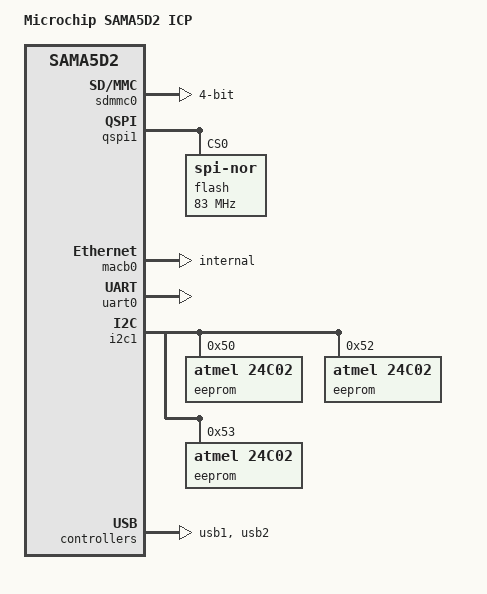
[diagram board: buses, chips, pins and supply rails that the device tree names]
// SPDX-License-Identifier: GPL-2.0+ OR MIT
/*
 * at91-sama5d2_icp.dts - Device Tree file for SAMA5D2 ICP board
 *			SAMA5D2 Industrial Connectivity Platform
 *
 *  Copyright (c) 2018, Microchip Technology Inc.
 *                2018, Eugen Hristev <eugen.hristev@microchip.com>
 */
/dts-v1/;
#include "sama5d2.dtsi"
#include "sama5d2-pinfunc.h"

/ {
	model = "Microchip SAMA5D2 ICP";
	compatible = "atmel,sama5d2-icp", "atmel,sama5d27", "atmel,sama5d2", "atmel,sama5";

	aliases {
		serial0 = &uart0;
		i2c1	= &i2c1;
	};

	chosen {
		stdout-path = "serial0:115200n8";
	};

	ahb {

		sdmmc0: sdio-host@a0000000 {
			bus-width = <4>;
			pinctrl-names = "default";
			pinctrl-0 = <&pinctrl_sdmmc0_default>;
			status = "okay";
		};

		apb {

			qspi1: spi@f0024000 {
				pinctrl-names = "default";
				pinctrl-0 = <&pinctrl_qspi1_sck_cs_default &pinctrl_qspi1_dat_default>;
				status = "okay";

				flash@0 {
					compatible = "jedec,spi-nor";
					reg = <0>;
					spi-max-frequency = <83000000>;
					spi-rx-bus-width = <4>;
					spi-tx-bus-width = <4>;
				};
			};

			macb0: ethernet@f8008000 {
				pinctrl-names = "default";
				pinctrl-0 = <&pinctrl_macb0_rmii &pinctrl_macb0_phy_irq &pinctrl_macb0_rst>;
				phy-mode = "internal";
				status = "okay";
			};

			uart0: serial@f801c000 { /* mikrobus1 uart */
				pinctrl-names = "default";
				pinctrl-0 = <&pinctrl_mikrobus1_uart>;
				status = "okay";
			};

			i2c1: i2c@fc028000 {
				dmas = <0>, <0>;
				pinctrl-names = "default";
				pinctrl-0 = <&pinctrl_i2c1_default>;
				status = "okay";

				eeprom@50 {
					compatible = "atmel,24c02"; /* EEPROM is 2Kbits microchip 24aa025e48, an at24c02 with page size of 16 */
					reg = <0x50>;
					pagesize = <16>;
				};

				eeprom@52 {
					compatible = "atmel,24c02"; /* EEPROM is 2Kbits microchip 24aa025e48, an at24c02 with page size of 16 */
					reg = <0x52>;
					pagesize = <16>;
				};

				eeprom@53 {
					compatible = "atmel,24c02"; /* EEPROM is 2Kbits microchip 24aa025e48, an at24c02 with page size of 16 */
					reg = <0x53>;
					pagesize = <16>;
				};
			};

			pioA: pinctrl@fc038000 {
				status = "okay";
				pinctrl_i2c1_default: i2c1_default {
					pinmux = <PIN_PD19__TWD1>,
						 <PIN_PD20__TWCK1>;
					bias-disable;
				};

				pinctrl_macb0_rmii: macb0_rmii {
					pinmux = <PIN_PD1__GRXCK>,
						 <PIN_PD2__GTXER>,
						 <PIN_PD5__GRX2>,
						 <PIN_PD6__GRX3>,
						 <PIN_PD7__GTX2>,
						 <PIN_PD8__GTX3>,
						 <PIN_PD9__GTXCK>,
						 <PIN_PD10__GTXEN>,
						 <PIN_PD11__GRXDV>,
						 <PIN_PD12__GRXER>,
						 <PIN_PD13__GRX0>,
						 <PIN_PD14__GRX1>,
						 <PIN_PD15__GTX0>,
						 <PIN_PD16__GTX1>,
						 <PIN_PD17__GMDC>,
						 <PIN_PD18__GMDIO>;
					bias-disable;
				};

				pinctrl_macb0_phy_irq: macb0_phy_irq {
					pinmux = <PIN_PD3__GPIO>;
					bias-disable;
				};

				pinctrl_macb0_rst: macb0_sw_rst {
					pinmux = <PIN_PD4__GPIO>;
					bias-pull-up;
				};

				pinctrl_mikrobus1_uart: mikrobus1_uart {
					pinmux = <PIN_PB26__URXD0>,
						 <PIN_PB27__UTXD0>;
					bias-disable;
				};

				pinctrl_qspi1_sck_cs_default: qspi1_sck_cs_default {
					pinmux = <PIN_PA6__QSPI1_SCK>,
						 <PIN_PA11__QSPI1_CS>;
					bias-disable;
				};

				pinctrl_qspi1_dat_default: qspi1_dat_default {
					pinmux = <PIN_PA7__QSPI1_IO0>,
						 <PIN_PA8__QSPI1_IO1>,
						 <PIN_PA9__QSPI1_IO2>,
						 <PIN_PA10__QSPI1_IO3>;
					bias-pull-up;
				};

				pinctrl_sdmmc0_default: sdmmc0_default {
					pinmux = <PIN_PA1__SDMMC0_CMD>,
						 <PIN_PA2__SDMMC0_DAT0>,
						 <PIN_PA3__SDMMC0_DAT1>,
						 <PIN_PA4__SDMMC0_DAT2>,
						 <PIN_PA5__SDMMC0_DAT3>,
						 <PIN_PA0__SDMMC0_CK>,
						 <PIN_PA13__SDMMC0_CD>;
					bias-disable;
				};

				pinctrl_usb_default: usb_default {
					pinmux = <PIN_PC17__GPIO>;
					bias-disable;
				};

				pinctrl_usba_vbus: usba_vbus {
					pinmux = <PIN_PD23__GPIO>;
					bias-disable;
				};
			};
		};
	};
};

&usb1 {
	num-ports = <3>;
	pinctrl-names = "default";
	pinctrl-0 = <&pinctrl_usb_default>;
	status = "okay";
};

&usb2 {
	phy_type = "hsic";
	status = "okay";
};
